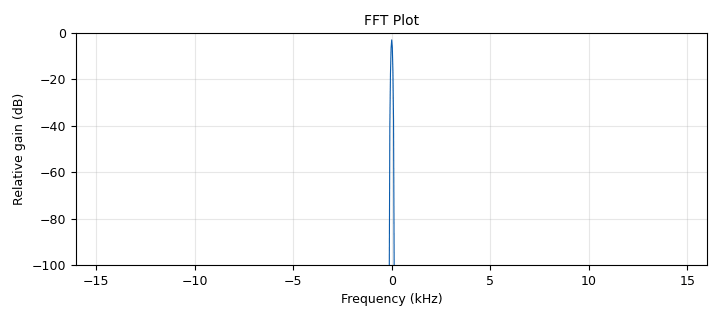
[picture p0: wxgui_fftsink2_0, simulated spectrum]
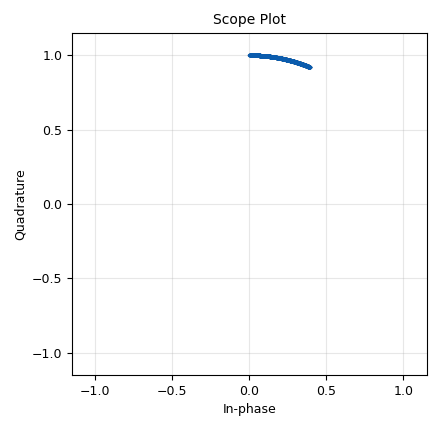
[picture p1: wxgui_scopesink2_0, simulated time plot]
<?xml version='1.0' encoding='utf-8'?>
<flow_graph>
<block>
<key>options</key>
<param><key>id</key><value>top_block</value></param>
<param><key>generate_options</key><value>wx_gui</value></param>
<param><key>category</key><value>Custom</value></param>
</block>
<block>
<key>variable</key>
<param><key>id</key><value>samp_rate</value></param>
<param><key>value</key><value>32000</value></param>
</block>
<block>
<key>notebook</key>
<param><key>id</key><value>nb</value></param>
<param><key>style</key><value>wx.NB_TOP</value></param>
<param><key>labels</key><value>['Scope', 'FFT']</value></param>
</block>
<block>
<key>wxgui_fftsink2</key>
<param><key>id</key><value>wxgui_fftsink2_0</value></param>
<param><key>type</key><value>complex</value></param>
<param><key>title</key><value>FFT Plot</value></param>
<param><key>samp_rate</key><value>samp_rate</value></param>
<param><key>baseband_freq</key><value>0</value></param>
<param><key>y_per_div</key><value>10</value></param>
<param><key>y_divs</key><value>10</value></param>
<param><key>ref_level</key><value>0</value></param>
<param><key>ref_scale</key><value>2.0</value></param>
<param><key>fft_size</key><value>1024</value></param>
<param><key>fft_rate</key><value>15</value></param>
<param><key>peak_hold</key><value>False</value></param>
<param><key>average</key><value>False</value></param>
<param><key>avg_alpha</key><value>0</value></param>
<param><key>win</key><value>None</value></param>
<param><key>notebook</key><value>nb, 1</value></param>
<param><key>freqvar</key><value>None</value></param>
</block>
<block>
<key>blocks_add_xx</key>
<param><key>id</key><value>blocks_add_xx_0</value></param>
<param><key>type</key><value>complex</value></param>
</block>
<block>
<key>analog_sig_source_x</key>
<param><key>id</key><value>analog_sig_source_x_0</value></param>
<param><key>type</key><value>complex</value></param>
<param><key>samp_rate</key><value>samp_rate</value></param>
<param><key>waveform</key><value>analog.GR_COS_WAVE</value></param>
<param><key>freq</key><value>freq</value></param>
<param><key>amp</key><value>signal_amp</value></param>
<param><key>offset</key><value>0</value></param>
</block>
<block>
<key>blocks_throttle</key>
<param><key>id</key><value>blocks_throttle_0</value></param>
<param><key>type</key><value>complex</value></param>
<param><key>samples_per_second</key><value>samp_rate</value></param>
</block>
<block>
<key>variable_slider</key>
<param><key>id</key><value>noise_amp</value></param>
<param><key>label</key><value>Noise Amp</value></param>
<param><key>value</key><value>-130</value></param>
<param><key>min</key><value>-150</value></param>
<param><key>max</key><value>0</value></param>
<param><key>num_steps</key><value>150</value></param>
<param><key>style</key><value>wx.SL_HORIZONTAL</value></param>
<param><key>converver</key><value>float_converter</value></param>
</block>
<block>
<key>variable_slider</key>
<param><key>id</key><value>signal_amp</value></param>
<param><key>label</key><value>Signal Amp</value></param>
<param><key>value</key><value>1</value></param>
<param><key>min</key><value>0</value></param>
<param><key>max</key><value>2</value></param>
<param><key>num_steps</key><value>100</value></param>
<param><key>style</key><value>wx.SL_HORIZONTAL</value></param>
<param><key>converver</key><value>float_converter</value></param>
</block>
<block>
<key>analog_noise_source_x</key>
<param><key>id</key><value>analog_noise_source_x_0</value></param>
<param><key>type</key><value>complex</value></param>
<param><key>noise_type</key><value>analog.GR_GAUSSIAN</value></param>
<param><key>amp</key><value>10.0**(1. * noise_amp / 20.0)</value></param>
<param><key>seed</key><value>0</value></param>
</block>
<block>
<key>wxgui_scopesink2</key>
<param><key>id</key><value>wxgui_scopesink2_0</value></param>
<param><key>type</key><value>complex</value></param>
<param><key>title</key><value>Scope Plot</value></param>
<param><key>samp_rate</key><value>samp_rate</value></param>
<param><key>v_scale</key><value>0.5</value></param>
<param><key>v_offset</key><value>0</value></param>
<param><key>t_scale</key><value>0</value></param>
<param><key>ac_couple</key><value>False</value></param>
<param><key>xy_mode</key><value>True</value></param>
<param><key>num_inputs</key><value>1</value></param>
<param><key>notebook</key><value>nb, 0</value></param>
<param><key>trig_mode</key><value>wxgui.TRIG_MODE_AUTO</value></param>
<param><key>y_axis_label</key><value>Counts</value></param>
</block>
<block>
<key>variable_slider</key>
<param><key>id</key><value>freq</value></param>
<param><key>label</key><value>Frequency</value></param>
<param><key>value</key><value>1</value></param>
<param><key>min</key><value>0</value></param>
<param><key>max</key><value>10</value></param>
<param><key>num_steps</key><value>1000</value></param>
<param><key>style</key><value>wx.SL_HORIZONTAL</value></param>
<param><key>converver</key><value>float_converter</value></param>
</block>
<connection><source_block_id>analog_noise_source_x_0</source_block_id><sink_block_id>blocks_add_xx_0</sink_block_id><source_key>0</source_key><sink_key>1</sink_key></connection>
<connection><source_block_id>blocks_throttle_0</source_block_id><sink_block_id>wxgui_scopesink2_0</sink_block_id><source_key>0</source_key><sink_key>0</sink_key></connection>
<connection><source_block_id>blocks_throttle_0</source_block_id><sink_block_id>wxgui_fftsink2_0</sink_block_id><source_key>0</source_key><sink_key>0</sink_key></connection>
<connection><source_block_id>analog_sig_source_x_0</source_block_id><sink_block_id>blocks_add_xx_0</sink_block_id><source_key>0</source_key><sink_key>0</sink_key></connection>
<connection><source_block_id>blocks_add_xx_0</source_block_id><sink_block_id>blocks_throttle_0</sink_block_id><source_key>0</source_key><sink_key>0</sink_key></connection>
</flow_graph>
